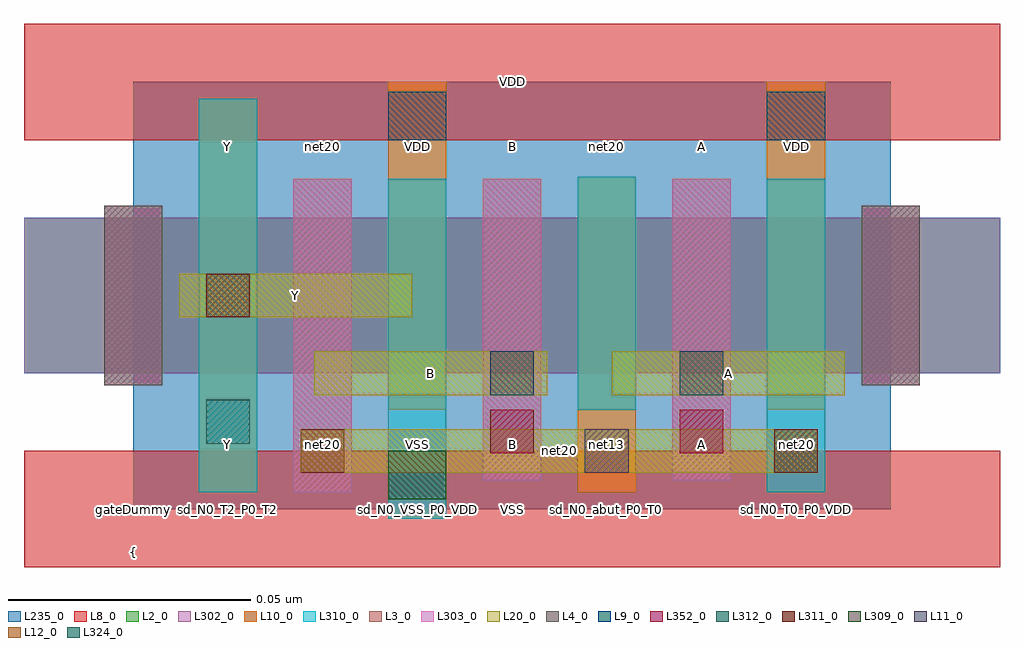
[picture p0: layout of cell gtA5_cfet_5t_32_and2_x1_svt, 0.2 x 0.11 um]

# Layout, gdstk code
import gdstk
lib = gdstk.Library(unit=1e-6, precision=2.5e-10)
def R(c, l, rs):  # rectangles x0, y0, x1, y1
    for r in rs: c.add(gdstk.rectangle(r[:2], r[2:], *l))
L2_0 = (2, 0)
L3_0 = (3, 0)
L4_0 = (4, 0)
L8_0 = (8, 0)
L9_0 = (9, 0)
L10_0 = (10, 0)
L11_0 = (11, 0)
L12_0 = (12, 0)
L20_0 = (20, 0)
L235_0 = (235, 0)
L302_0 = (302, 0)
L303_0 = (303, 0)
L309_0 = (309, 0)
L310_0 = (310, 0)
L311_0 = (311, 0)
L312_0 = (312, 0)
L324_0 = (324, 0)
L352_0 = (352, 0)

gta5_cfet_5t_32_and2_x1_ = lib.new_cell('gtA5_cfet_5t_32_and2_x1_svt')
R(gta5_cfet_5t_32_and2_x1_, L2_0, [(-0.0225,0.028,0.1785,0.06)])
R(gta5_cfet_5t_32_and2_x1_, L3_0, [(0.033,0.0035,0.045,0.068), (0.072,0.006,0.084,0.068), (0.111,0.006,0.123,0.068), (-0.006,0.0255,0.006,0.0625), (0.15,0.0255,0.162,0.0625)])
R(gta5_cfet_5t_32_and2_x1_, L4_0, [(-0.006,0.0255,0.006,0.0625), (0.15,0.0255,0.162,0.0625)])
R(gta5_cfet_5t_32_and2_x1_, L8_0, [(-0.0225,-0.012,0.1785,0.012), (-0.0225,0.076,0.1785,0.1)])
R(gta5_cfet_5t_32_and2_x1_, L9_0, [(0.0525,0.076,0.0645,0.086), (0.1305,0.076,0.1425,0.086)])
R(gta5_cfet_5t_32_and2_x1_, L10_0, [(0.0135,0.0035,0.0255,0.0845), (0.0915,0.0035,0.1035,0.0685), (0.0525,0.0205,0.0645,0.088), (0.1305,0.0205,0.1425,0.088)])
R(gta5_cfet_5t_32_and2_x1_, L11_0, [(0.093,0.0075,0.102,0.0165)])
R(gta5_cfet_5t_32_and2_x1_, L12_0, [(0.0345,0.0075,0.0435,0.0165)])
R(gta5_cfet_5t_32_and2_x1_, L20_0, [(0.0345,0.0075,0.141,0.0165), (0.0372,0.0235,0.0853,0.0325), (0.0985,0.0235,0.1465,0.0325), (0.0095,0.0395,0.0575,0.0485)])
R(gta5_cfet_5t_32_and2_x1_, L235_0, [(0,0,0.156,0.088)])
R(gta5_cfet_5t_32_and2_x1_, L302_0, [(-0.0225,0.028,0.1785,0.06)])
R(gta5_cfet_5t_32_and2_x1_, L303_0, [(0.033,0.0035,0.045,0.068), (0.072,0.006,0.084,0.068), (0.111,0.006,0.123,0.068), (-0.006,0.0255,0.006,0.0625), (0.15,0.0255,0.162,0.0625)])
R(gta5_cfet_5t_32_and2_x1_, L309_0, [(0.0525,0.002,0.0645,0.012)])
R(gta5_cfet_5t_32_and2_x1_, L310_0, [(0.0525,-0.002,0.0645,0.068), (0.0135,0.0035,0.0255,0.0845), (0.1305,0.0035,0.1425,0.068), (0.0915,0.0205,0.1035,0.0685)])
R(gta5_cfet_5t_32_and2_x1_, L311_0, [(0.132,0.0075,0.141,0.0165), (0.015,0.0395,0.024,0.0485)])
R(gta5_cfet_5t_32_and2_x1_, L312_0, [(0.0735,0.0235,0.0825,0.0325), (0.1125,0.0235,0.1215,0.0325)])
R(gta5_cfet_5t_32_and2_x1_, L324_0, [(0.015,0.0135,0.024,0.0225)])
R(gta5_cfet_5t_32_and2_x1_, L352_0, [(0.0735,0.0115,0.0825,0.0205), (0.1125,0.0115,0.1215,0.0205)])
gta5_cfet_5t_32_and2_x1_.add(gdstk.Label('net20', (0.0878,0.012), layer=100, texttype=100))
gta5_cfet_5t_32_and2_x1_.add(gdstk.Label('gateDummy', (0,0), layer=103, texttype=103))
gta5_cfet_5t_32_and2_x1_.add(gdstk.Label('sd_N0_T2_P0_T2', (0.0195,0), layer=103, texttype=103))
gta5_cfet_5t_32_and2_x1_.add(gdstk.Label('gate_N0_T0_P0_T0', (0.039,0), layer=103, texttype=103))
gta5_cfet_5t_32_and2_x1_.add(gdstk.Label('sd_N0_VSS_P0_VDD', (0.0585,0), layer=103, texttype=103))
gta5_cfet_5t_32_and2_x1_.add(gdstk.Label('gate_N0_T1_P0_T1', (0.078,0), layer=103, texttype=103))
gta5_cfet_5t_32_and2_x1_.add(gdstk.Label('sd_N0_abut_P0_T0', (0.0975,0), layer=103, texttype=103))
gta5_cfet_5t_32_and2_x1_.add(gdstk.Label('gate_N0_T1_P0_T1', (0.117,0), layer=103, texttype=103))
gta5_cfet_5t_32_and2_x1_.add(gdstk.Label('sd_N0_T0_P0_VDD', (0.1365,0), layer=103, texttype=103))
gta5_cfet_5t_32_and2_x1_.add(gdstk.Label('gateDummy', (0.156,0), layer=103, texttype=103))
gta5_cfet_5t_32_and2_x1_.add(gdstk.Label('}', (0,-0.0963), layer=104, texttype=104))
gta5_cfet_5t_32_and2_x1_.add(gdstk.Label('  power : None', (0,-0.0875), layer=104, texttype=104))
gta5_cfet_5t_32_and2_x1_.add(gdstk.Label('  performance : None', (0,-0.0788), layer=104, texttype=104))
gta5_cfet_5t_32_and2_x1_.add(gdstk.Label("  solution_hash : '3154593919040891833'", (0,-0.07), layer=104, texttype=104))
gta5_cfet_5t_32_and2_x1_.add(gdstk.Label('  number_m2 : 0', (0,-0.0612), layer=104, texttype=104))
gta5_cfet_5t_32_and2_x1_.add(gdstk.Label('  number_m1 : 0', (0,-0.0525), layer=104, texttype=104))
gta5_cfet_5t_32_and2_x1_.add(gdstk.Label('  number_m0cuts : 0', (0,-0.0438), layer=104, texttype=104))
gta5_cfet_5t_32_and2_x1_.add(gdstk.Label('  number_m0 : 4', (0,-0.035), layer=104, texttype=104))
gta5_cfet_5t_32_and2_x1_.add(gdstk.Label("  solution_number : '0000'", (0,-0.0262), layer=104, texttype=104))
gta5_cfet_5t_32_and2_x1_.add(gdstk.Label("  placement_id : '5670884925690252422'", (0,-0.0175), layer=104, texttype=104))
gta5_cfet_5t_32_and2_x1_.add(gdstk.Label('{', (0,-0.0088), layer=104, texttype=104))
gta5_cfet_5t_32_and2_x1_.add(gdstk.Label('Y', (0.0195,0.0132), layer=105, texttype=105))
gta5_cfet_5t_32_and2_x1_.add(gdstk.Label('net20', (0.039,0.0132), layer=105, texttype=105))
gta5_cfet_5t_32_and2_x1_.add(gdstk.Label('VSS', (0.0585,0.0132), layer=105, texttype=105))
gta5_cfet_5t_32_and2_x1_.add(gdstk.Label('B', (0.078,0.0132), layer=105, texttype=105))
gta5_cfet_5t_32_and2_x1_.add(gdstk.Label('net13', (0.0975,0.0132), layer=105, texttype=105))
gta5_cfet_5t_32_and2_x1_.add(gdstk.Label('A', (0.117,0.0132), layer=105, texttype=105))
gta5_cfet_5t_32_and2_x1_.add(gdstk.Label('net20', (0.1365,0.0132), layer=105, texttype=105))
gta5_cfet_5t_32_and2_x1_.add(gdstk.Label('Y', (0.0195,0.0747), layer=105, texttype=105))
gta5_cfet_5t_32_and2_x1_.add(gdstk.Label('net20', (0.039,0.0747), layer=105, texttype=105))
gta5_cfet_5t_32_and2_x1_.add(gdstk.Label('VDD', (0.0585,0.0747), layer=105, texttype=105))
gta5_cfet_5t_32_and2_x1_.add(gdstk.Label('B', (0.078,0.0747), layer=105, texttype=105))
gta5_cfet_5t_32_and2_x1_.add(gdstk.Label('net20', (0.0975,0.0747), layer=105, texttype=105))
gta5_cfet_5t_32_and2_x1_.add(gdstk.Label('A', (0.117,0.0747), layer=105, texttype=105))
gta5_cfet_5t_32_and2_x1_.add(gdstk.Label('VDD', (0.1365,0.0747), layer=105, texttype=105))
gta5_cfet_5t_32_and2_x1_.add(gdstk.Label('VSS', (0.078,0), layer=8, texttype=0))
gta5_cfet_5t_32_and2_x1_.add(gdstk.Label('VDD', (0.078,0.088), layer=8, texttype=0))
gta5_cfet_5t_32_and2_x1_.add(gdstk.Label('B', (0.0612,0.028), layer=20, texttype=251))
gta5_cfet_5t_32_and2_x1_.add(gdstk.Label('A', (0.1225,0.028), layer=20, texttype=251))
gta5_cfet_5t_32_and2_x1_.add(gdstk.Label('Y', (0.0335,0.044), layer=20, texttype=251))
gta5_cfet_5t_32_and2_x1_.add(gdstk.Label('gtA5_cfet_5t_32_and2_x1_rvt_0', (0,0), layer=235, texttype=0))

lib.write_gds('gtA5_cfet_5t_32_and2_x1_svt.gds')
